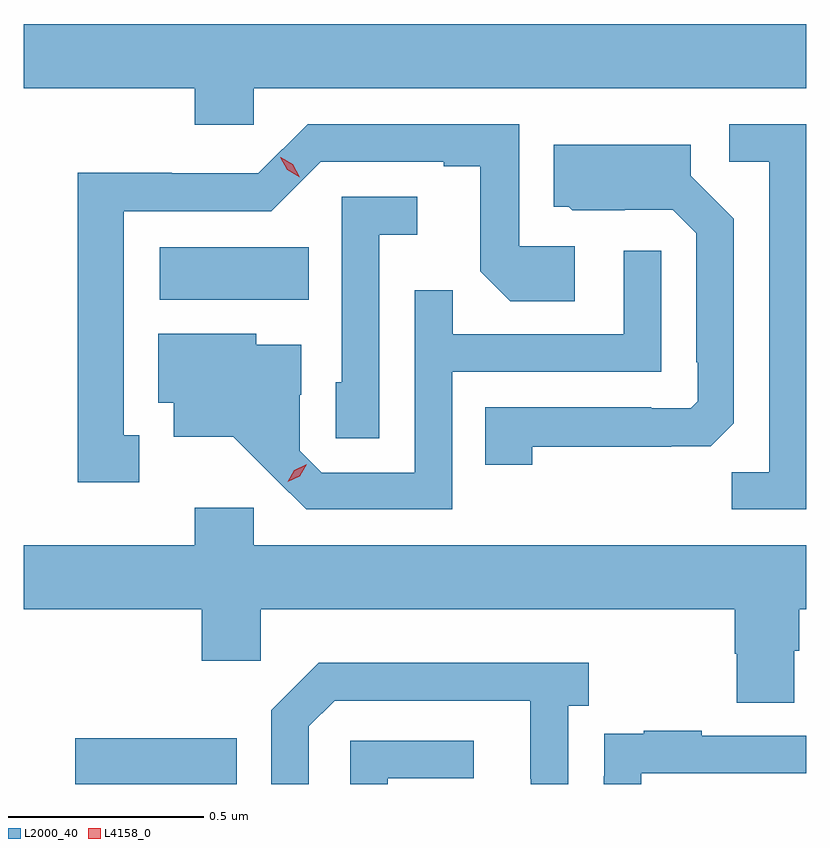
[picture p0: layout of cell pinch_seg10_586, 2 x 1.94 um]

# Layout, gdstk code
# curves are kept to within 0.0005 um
import gdstk
lib = gdstk.Library(unit=1e-6, precision=1e-09)
def R(c, l, rs):  # rectangles x0, y0, x1, y1
    for r in rs: c.add(gdstk.rectangle(r[:2], r[2:], *l))
def P(c, l, *ps):  # polygons
    for p in ps: c.add(gdstk.Polygon(p, *l))
L2000_40 = (2000, 40)
L4158_0 = (4158, 0)

pinch_seg10_586 = lib.new_cell('pinch_seg10_586')
R(pinch_seg10_586, L2000_40, [(349.392,1262.574,349.804,1262.691), (349.608,1263.812,349.988,1263.946)])
P(pinch_seg10_586, L2000_40, [(349.848,1264.352),(351.26,1264.352),(351.26,1264.516),(349.26,1264.516),(349.26,1264.352),(349.697,1264.352),(349.697,1264.259),(349.848,1264.259)],
  [(351.26,1264.26),(351.063,1264.26),(351.063,1264.164),(351.165,1264.164),(351.165,1263.371),(351.07,1263.371),(351.07,1263.276),(351.26,1263.276)],
  [(349.555,1263.465),(349.516,1263.465),(349.516,1264.038),(349.893,1264.038),(350.019,1264.164),(350.333,1264.164),(350.333,1264.152),(350.427,1264.152),(350.427,1263.884),(350.503,1263.808),(350.668,1263.808),(350.668,1263.948),(350.526,1263.948),(350.526,1264.26),(349.986,1264.26),(349.86,1264.134),(349.638,1264.134),(349.638,1264.136),(349.398,1264.136),(349.398,1263.345),(349.555,1263.345)],
  [(350.559,1263.436),(350.915,1263.436),(350.915,1263.437),(351.016,1263.437),(351.075,1263.496),(351.075,1264.018),(350.965,1264.128),(350.965,1264.207),(350.615,1264.207),(350.615,1264.049),(350.653,1264.049),(350.662,1264.04),(350.796,1264.04),(350.796,1264.041),(350.919,1264.041),(350.979,1263.981),(350.979,1263.652),(350.982,1263.652),(350.982,1263.552),(350.964,1263.534),(350.864,1263.534),(350.864,1263.537),(350.44,1263.537),(350.44,1263.39),(350.559,1263.39)],
  [(350.169,1263.977),(350.266,1263.977),(350.266,1264.074),(350.073,1264.074),(350.073,1263.6),(350.058,1263.6),(350.058,1263.457),(350.169,1263.457)],
  [(350.355,1263.627),(350.889,1263.627),(350.889,1263.937),(350.793,1263.937),(350.793,1263.723),(350.357,1263.723),(350.357,1263.836),(350.259,1263.836),(350.259,1263.369),(350.022,1263.369),(349.965,1263.426),(349.965,1263.568),(349.969,1263.568),(349.969,1263.697),(349.854,1263.697),(349.854,1263.724),(349.604,1263.724),(349.604,1263.548),(349.643,1263.548),(349.643,1263.461),(349.795,1263.461),(349.982,1263.276),(350.355,1263.276)],
  [(351.229,1262.914),(351.242,1262.914),(351.242,1263.02),(351.26,1263.02),(351.26,1263.184),(349.848,1263.184),(349.848,1263.28),(349.697,1263.28),(349.697,1263.184),(349.26,1263.184),(349.26,1263.02),(349.715,1263.02),(349.715,1262.889),(349.866,1262.889),(349.866,1263.02),(351.077,1263.02),(351.077,1262.907),(351.082,1262.907),(351.082,1262.782),(351.229,1262.782)],
  [(349.989,1262.721),(350.055,1262.787),(350.555,1262.787),(350.555,1262.587),(350.556,1262.587),(350.556,1262.574),(350.652,1262.574),(350.652,1262.774),(350.704,1262.774),(350.704,1262.884),(350.014,1262.884),(349.893,1262.763),(349.893,1262.574),(349.989,1262.574)],
  [(350.838,1262.601),(351.26,1262.601),(351.26,1262.697),(350.993,1262.697),(350.993,1262.71),(350.845,1262.71),(350.845,1262.703),(350.743,1262.703),(350.743,1262.594),(350.742,1262.594),(350.742,1262.574),(350.838,1262.574)],
  [(350.19,1262.589),(350.41,1262.589),(350.41,1262.685),(350.094,1262.685),(350.094,1262.574),(350.19,1262.574)])
P(pinch_seg10_586, L4158_0, [(349.935,1263.346),(349.935,1263.346),(349.952,1263.376),(349.983,1263.391),(349.983,1263.391),(349.983,1263.391),(349.966,1263.361),(349.935,1263.346)],
  [(349.965,1264.124),(349.934,1264.143),(349.916,1264.176),(349.916,1264.176),(349.917,1264.176),(349.948,1264.157),(349.965,1264.124),(349.965,1264.124)])

lib.write_gds('pinch_seg10_586.gds')
